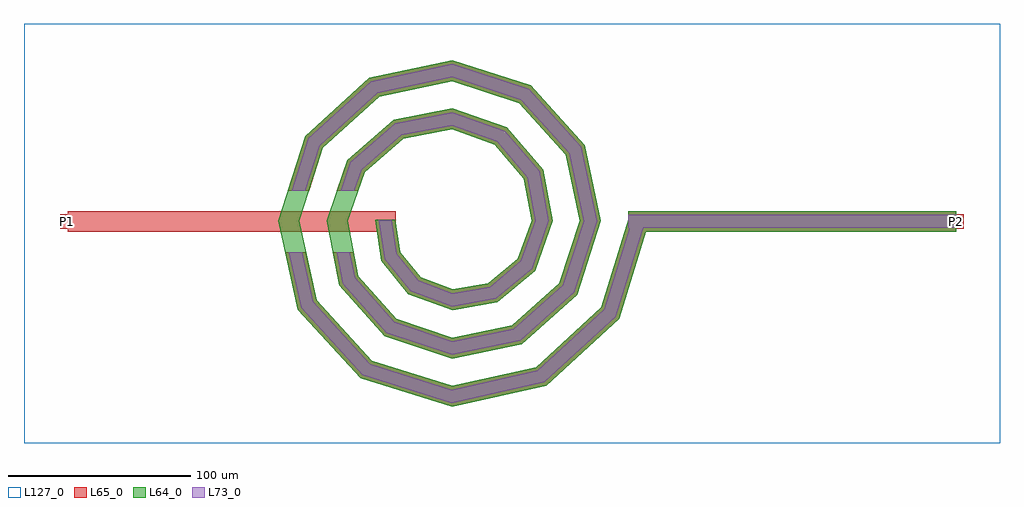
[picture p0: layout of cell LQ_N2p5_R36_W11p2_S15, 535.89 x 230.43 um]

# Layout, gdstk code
import gdstk
lib = gdstk.Library(unit=1e-6, precision=1e-09)
def R(c, l, rs):  # rectangles x0, y0, x1, y1
    for r in rs: c.add(gdstk.rectangle(r[:2], r[2:], *l))
def P(c, l, *ps):  # polygons
    for p in ps: c.add(gdstk.Polygon(p, *l))
L64_0 = (64, 0)
L65_0 = (65, 0)
L73_0 = (73, 0)
L127_0 = (127, 0)

lq_n2p5_r36_w11p2_s15 = lib.new_cell('LQ_N2p5_R36_W11p2_S15')
R(lq_n2p5_r36_w11p2_s15, L64_0, [(97.071,-5.6,277.071,5.6)])
P(lq_n2p5_r36_w11p2_s15, L64_0, [(-28.145,-16.961),(-17.025,-30.654),(0.553,-37.266),(20.192,-33.921),(36.346,-20.405),(43.886,0.48),(39.688,23.445),(23.769,42.05),(0.424,50.508),(-26.711,45.449),(-47.761,27.121),(-57.131,0.379),(-51.206,-29.987),(-30.466,-53.478),(0.343,-63.755),(33.269,-56.959),(59.199,-33.806),(70.379,0.313),(62.71,36.557),(37.141,64.922),(0.288,77.003),(-39.849,68.459),(-70.648,40.473),(-83.628,0.267),(-74.206,-43.144),(-43.802,-76.376),(0.249,-90.253),(46.441,-79.952),(82.105,-47.129),(97.325,1.667),(108.017,-1.667),(91.902,-53.334),(51.813,-90.229),(0.249,-101.839),(-50.035,-86.155),(-84.5,-48.485),(-95.212,0.267),(-80.407,46.739),(-45.154,78.771),(0.288,88.586),(43.445,74.657),(73.044,41.82),(81.959,0.313),(68.905,-40.155),(38.483,-67.319),(0.343,-75.332),(-36.869,-63.149),(-61.597,-35.14),(-68.705,0.379),(-57.39,33.588),(-31.79,55.877),(0.424,62.077),(30.315,51.626),(50.162,28.431),(55.447,0.48),(45.854,-27.053),(25.057,-44.454),(0.553,-48.816),(-23.807,-40.07),(-38.754,-21.663),(-41.951,0.85),(-30.88,0.85)])
R(lq_n2p5_r36_w11p2_s15, L65_0, [(-210.816,-5.6,-30.816,5.6), (97.071,-5.6,277.071,5.6), (-214.816,-4,-206.816,4), (273.071,-4,281.071,4)])
P(lq_n2p5_r36_w11p2_s15, L65_0, [(-74.206,-43.144),(-43.802,-76.376),(0.249,-90.253),(46.441,-79.952),(82.105,-47.129),(97.325,1.668),(108.017,-1.668),(91.902,-53.334),(51.813,-90.229),(0.249,-101.839),(-50.035,-86.155),(-84.5,-48.485),(-91.462,-16.8),(-79.995,-16.8)],
  [(-51.206,-29.987),(-30.466,-53.478),(0.343,-63.755),(33.269,-56.959),(59.199,-33.806),(70.379,0.313),(62.71,36.557),(37.141,64.923),(0.288,77.003),(-39.849,68.459),(-70.648,40.473),(-78.191,16.8),(-89.945,16.8),(-80.407,46.739),(-45.154,78.771),(0.288,88.586),(43.445,74.657),(73.044,41.82),(81.959,0.313),(68.905,-40.155),(38.483,-67.319),(0.343,-75.332),(-36.869,-63.149),(-61.597,-35.14),(-65.267,-16.8),(-53.845,-16.8)],
  [(-17.025,-30.655),(0.553,-37.266),(20.192,-33.921),(36.346,-20.405),(43.886,0.48),(39.688,23.445),(23.769,42.05),(0.424,50.508),(-26.711,45.449),(-47.761,27.121),(-51.278,16.8),(-63.11,16.8),(-57.39,33.588),(-31.79,55.877),(0.424,62.077),(30.315,51.626),(50.162,28.431),(55.447,0.48),(45.854,-27.053),(25.057,-44.454),(0.553,-48.816),(-23.807,-40.07),(-38.754,-21.663),(-41.951,0.85),(-30.88,0.85),(-28.145,-16.961)])
R(lq_n2p5_r36_w11p2_s15, L73_0, [(97.071,-3.6,277.071,3.6)])
P(lq_n2p5_r36_w11p2_s15, L73_0, [(-76.044,-44.098),(-44.915,-78.122),(0.16,-92.322),(47.4,-81.787),(83.855,-48.237),(99.235,1.072),(106.108,-1.072),(90.152,-52.226),(50.854,-88.394),(0.16,-99.77),(-48.922,-84.409),(-82.662,-47.531),(-89.414,-16.8),(-82.043,-16.8)],
  [(-53.061,-30.907),(-31.61,-55.205),(0.221,-65.822),(34.2,-58.809),(60.932,-34.94),(72.447,0.201),(64.555,37.497),(38.267,66.661),(0.185,79.072),(-40.796,70.3),(-72.391,41.592),(-80.29,16.8),(-87.846,16.8),(-78.664,45.62),(-44.207,76.93),(0.185,86.518),(42.319,72.919),(71.199,40.881),(79.891,0.201),(67.171,-39.021),(37.552,-65.469),(0.221,-73.265),(-35.725,-61.422),(-59.741,-34.22),(-63.227,-16.8),(-55.884,-16.8)],
  [(-18.236,-32.336),(0.356,-39.329),(21.061,-35.802),(38.044,-21.592),(45.951,0.309),(41.559,24.335),(24.938,43.76),(0.272,52.574),(-27.618,47.311),(-49.481,28.276),(-53.391,16.8),(-60.997,16.8),(-55.671,32.433),(-30.883,54.015),(0.272,60.011),(29.146,49.916),(48.292,27.54),(53.383,0.309),(44.156,-25.866),(24.189,-42.573),(0.356,-46.754),(-22.596,-38.388),(-36.859,-20.824),(-39.974,0.547),(-32.857,0.547),(-30.039,-17.801)])
R(lq_n2p5_r36_w11p2_s15, L127_0, [(-234.816,-121.839,301.071,108.586)])
lq_n2p5_r36_w11p2_s15.add(gdstk.Label('P2', (277.071,0), layer=65, texttype=0))
lq_n2p5_r36_w11p2_s15.add(gdstk.Label('P1', (-210.816,0), layer=65, texttype=0))
lq_n2p5_r36_w11p2_s15.add(gdstk.Label('P2', (281.071,0), layer=145, texttype=0))
lq_n2p5_r36_w11p2_s15.add(gdstk.Label('P1', (-214.816,0), layer=145, texttype=0))

lib.write_gds('LQ_N2p5_R36_W11p2_S15.gds')
